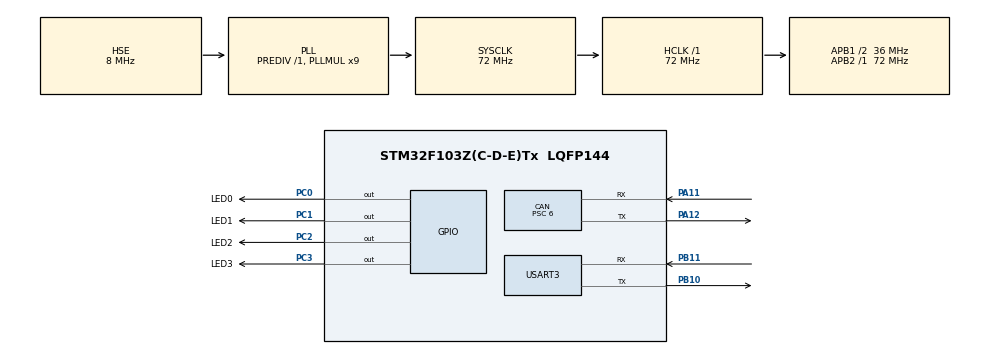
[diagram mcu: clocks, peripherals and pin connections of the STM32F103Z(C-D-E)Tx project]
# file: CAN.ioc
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CAN.BS1=CAN_BS1_3TQ
CAN.BS2=CAN_BS2_2TQ
CAN.CalculateTimeBit=1000
CAN.CalculateTimeQuantum=166.66666666666669
CAN.Prescaler=6
CAN.TTCM=DISABLE
CAN.TXFP=DISABLE
Mcu.Family=STM32F1
Mcu.Name=STM32F103Z(C-D-E)Tx
Mcu.Package=LQFP144
NVIC.PriorityGroup=NVIC_PRIORITYGROUP_4
OSC_IN.Mode=HSE-External-Oscillator
OSC_IN.Signal=RCC_OSC_IN
OSC_OUT.Mode=HSE-External-Oscillator
OSC_OUT.Signal=RCC_OSC_OUT
PA11.Mode=Master
PA11.Signal=CAN_RX
PA12.Mode=Master
PA12.Signal=CAN_TX
PA13.Mode=Serial_Wire
PA13.Signal=SYS_JTMS-SWDIO
PA14.Mode=Serial_Wire
PA14.Signal=SYS_JTCK-SWCLK
PB10.Mode=Asynchronous
PB10.Signal=USART3_TX
PB11.Mode=Asynchronous
PB11.Signal=USART3_RX
PC0.GPIO_Label=LED0
PC0.GPIO_ModeDefaultOutputPP=GPIO_MODE_OUTPUT_PP
PC0.GPIO_PuPd=GPIO_NOPULL
PC0.GPIO_Speed=GPIO_SPEED_FREQ_LOW
PC0.PinState=GPIO_PIN_SET
PC0.Signal=GPIO_Output
PC1.GPIO_Label=LED1
PC1.GPIO_ModeDefaultOutputPP=GPIO_MODE_OUTPUT_PP
PC1.GPIO_PuPd=GPIO_NOPULL
PC1.GPIO_Speed=GPIO_SPEED_FREQ_LOW
PC1.PinState=GPIO_PIN_SET
PC1.Signal=GPIO_Output
PC2.GPIO_Label=LED2
PC2.GPIO_ModeDefaultOutputPP=GPIO_MODE_OUTPUT_PP
PC2.GPIO_PuPd=GPIO_NOPULL
PC2.GPIO_Speed=GPIO_SPEED_FREQ_LOW
PC2.PinState=GPIO_PIN_SET
PC2.Signal=GPIO_Output
PC3.GPIO_Label=LED3
PC3.GPIO_ModeDefaultOutputPP=GPIO_MODE_OUTPUT_PP
PC3.GPIO_PuPd=GPIO_NOPULL
PC3.GPIO_Speed=GPIO_SPEED_FREQ_LOW
PC3.PinState=GPIO_PIN_SET
PC3.Signal=GPIO_Output
ProjectManager.HeapSize=0x200
ProjectManager.StackSize=0x400
ProjectManager.TargetToolchain=MDK-ARM V5.27
RCC.ADCPresc=RCC_ADCPCLK2_DIV6
RCC.AHBFreq_Value=72000000
RCC.APB1CLKDivider=RCC_HCLK_DIV2
RCC.APB1Freq_Value=36000000
RCC.APB1TimFreq_Value=72000000
RCC.APB2Freq_Value=72000000
RCC.APB2TimFreq_Value=72000000
RCC.HCLKFreq_Value=72000000
RCC.PLLMUL=RCC_PLL_MUL9
RCC.PLLSourceVirtual=RCC_PLLSOURCE_HSE
RCC.SYSCLKFreq_VALUE=72000000
RCC.SYSCLKSource=RCC_SYSCLKSOURCE_PLLCLK
RCC.USBFreq_Value=48000000
RCC.USBPrescaler=RCC_USBCLKSOURCE_PLL_DIV1_5
USART3.VirtualMode=VM_ASYNC
board=custom

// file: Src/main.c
/* USER CODE BEGIN Header */
/**
  ******************************************************************************
  * @file           : main.c
  * @brief          : Main program body
  ******************************************************************************
  * @attention
  *
  * <h2><center>&copy; Copyright (c) 2020 STMicroelectronics.
  * All rights reserved.</center></h2>
  *
  * This software component is licensed by ST under BSD 3-Clause license,
  * the "License"; You may not use this file except in compliance with the
  * License. You may obtain a copy of the License at:
  *                        opensource.org/licenses/BSD-3-Clause
  *
  ******************************************************************************
  */
/* USER CODE END Header */

#include "main.h"
#include "can.h"
#include "usart.h"
#include "gpio.h"

/* USER CODE BEGIN Includes */
#include <stdio.h>
/* USER CODE END Includes */

/* USER CODE BEGIN PV */
uint8_t TxBuff[]="Hello World\n";
/* USER CODE END PV */

void SystemClock_Config(void);

/* USER CODE BEGIN 0 */
int fputc(int ch, FILE *f)
{
	HAL_UART_Transmit(&huart3, (uint8_t *)&ch, 1, 1000);
	return ch;
}

int fgetc(FILE *f)
{
	int ch = -1;
	HAL_UART_Receive(&huart3,(uint8_t *)&ch, sizeof(ch), 1000);
	return ch;
}
//can
void CAN_Filter_Init(CAN_HandleTypeDef *canHandle)
{
	CAN_FilterTypeDef CAN_FilterInit;
	CAN_FilterInit.FilterBank = 0;
	CAN_FilterInit.FilterMode = CAN_FILTERMODE_IDMASK;
	CAN_FilterInit.FilterScale = CAN_FILTERSCALE_32BIT;
	CAN_FilterInit.FilterIdHigh = 0x0000;
	CAN_FilterInit.FilterIdLow = 0x0000;
	CAN_FilterInit.FilterMaskIdHigh = 0x0000;
	CAN_FilterInit.FilterMaskIdLow = 0x0000;
	CAN_FilterInit.FilterFIFOAssignment = CAN_FILTER_FIFO0;
	CAN_FilterInit.FilterActivation = CAN_FILTER_ENABLE;

	HAL_CAN_ConfigFilter(canHandle, &CAN_FilterInit);
}
uint8_t Can_Send_Msg(uint8_t *msg, uint8_t len)
{
	uint8_t mbox;
	uint16_t i=0;
	CAN_TxHeaderTypeDef CAN_Header;

	CAN_Header.StdId = 0x12;
	CAN_Header.ExtId = 0x12;
	CAN_Header.IDE = CAN_ID_STD;
	CAN_Header.RTR = CAN_RTR_DATA;
	CAN_Header.DLC = len;

	if(HAL_CAN_AddTxMessage(&hcan, &CAN_Header, msg, (uint32_t *)CAN_TX_MAILBOX0) != HAL_OK)
	{
		Error_Handler();
	}
}
/* USER CODE END 0 */

int main(void)
{

  /* MCU Configuration--------------------------------------------------------*/

  /* Reset of all peripherals, Initializes the Flash interface and the Systick. */
  HAL_Init();

  /* Configure the system clock */
  SystemClock_Config();

  /* Initialize all configured peripherals */
  MX_GPIO_Init();
  MX_CAN_Init();
  MX_USART3_UART_Init();
  /* USER CODE BEGIN 2 */
	CAN_Filter_Init(&hcan);
	HAL_CAN_Start(&hcan);
  /* USER CODE END 2 */

  /* Infinite loop */
  while (1)
  {

    /* USER CODE BEGIN 3 */
	//	printf("Hello World!!!\n");

		HAL_GPIO_TogglePin(LED0_GPIO_Port, LED0_Pin);
		Can_Send_Msg(TxBuff, sizeof(TxBuff));
		HAL_Delay(200);
  }
  /* USER CODE END 3 */
}

void SystemClock_Config(void)
{
  RCC_OscInitTypeDef RCC_OscInitStruct = {0};
  RCC_ClkInitTypeDef RCC_ClkInitStruct = {0};

  /** Initializes the CPU, AHB and APB busses clocks
  */
  RCC_OscInitStruct.OscillatorType = RCC_OSCILLATORTYPE_HSE;
  RCC_OscInitStruct.HSEState = RCC_HSE_ON;
  RCC_OscInitStruct.HSEPredivValue = RCC_HSE_PREDIV_DIV1;
  RCC_OscInitStruct.HSIState = RCC_HSI_ON;
  RCC_OscInitStruct.PLL.PLLState = RCC_PLL_ON;
  RCC_OscInitStruct.PLL.PLLSource = RCC_PLLSOURCE_HSE;
  RCC_OscInitStruct.PLL.PLLMUL = RCC_PLL_MUL9;
  if (HAL_RCC_OscConfig(&RCC_OscInitStruct) != HAL_OK)
  {
    Error_Handler();
  }
  /** Initializes the CPU, AHB and APB busses clocks
  */
  RCC_ClkInitStruct.ClockType = RCC_CLOCKTYPE_HCLK|RCC_CLOCKTYPE_SYSCLK
                              |RCC_CLOCKTYPE_PCLK1|RCC_CLOCKTYPE_PCLK2;
  RCC_ClkInitStruct.SYSCLKSource = RCC_SYSCLKSOURCE_PLLCLK;
  RCC_ClkInitStruct.AHBCLKDivider = RCC_SYSCLK_DIV1;
  RCC_ClkInitStruct.APB1CLKDivider = RCC_HCLK_DIV2;
  RCC_ClkInitStruct.APB2CLKDivider = RCC_HCLK_DIV1;

  if (HAL_RCC_ClockConfig(&RCC_ClkInitStruct, FLASH_LATENCY_2) != HAL_OK)
  {
    Error_Handler();
  }
}

void Error_Handler(void)
{
}

/************************ (C) COPYRIGHT STMicroelectronics *****END OF FILE****/
